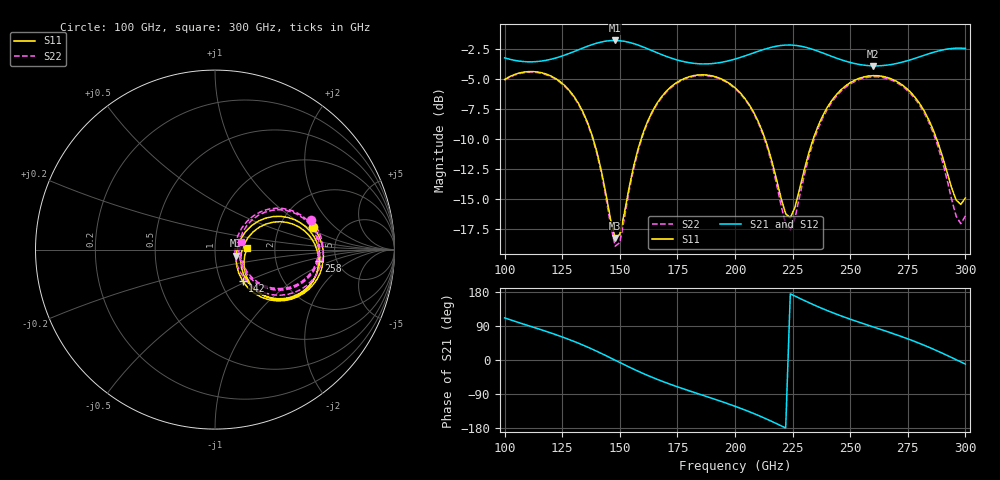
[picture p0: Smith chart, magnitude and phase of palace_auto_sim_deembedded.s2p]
! Created with skrf 1.11.0 (http://scikit-rf.org).
# GHz S DB R 50.0
!freq dBS11 angS11 dBS21 angS21 dBS12 angS12 dBS22 angS22
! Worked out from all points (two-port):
!   101 points, 100 GHz to 300 GHz, reference 50 ohm
!   highest |S21| = -1.75 dB at 148 GHz (marker M1); lowest = -3.9 dB at 260 GHz (marker M2)
!   |S21| within 3 dB of the highest: start of sweep to end of sweep
!   lowest |S11| = -18.2 dB at 148 GHz (marker M3), VSWR 1.28, Z = 63.2 - j4.41 ohm
!   |S11| at or under -10 dB: 138.5 GHz to 159.2 GHz (20.77 GHz wide, 14 % of centre); 213.1 GHz to 233.9 GHz (20.84 GHz wide, 9.33 % of centre); 287.6 GHz to end of sweep
!   |S22| runs from -18.9 to -4.4 dB; largest |S21 - S12| = 1.1e-13
!   S11 on the Smith chart (normalised r, x): 100 GHz: 3.11, +1.13; 142 GHz: 1.27, -0.47; 258 GHz: 3.62, -0.69; 300 GHz: 1.44, +0.02
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100  -5.01 12.9  -3.21 111.1  -3.21 111.1  -5.06 17.1
116  -4.45 -13.1  -3.48 79.5  -3.48 79.5  -4.50 -8.5
126  -5.50 -29.7  -2.98 58.6  -2.98 58.6  -5.56 -24.9
134  -7.72 -42.9  -2.38 39.3  -2.38 39.3  -7.80 -38.2
142  -12.63 -48.7  -1.88 17.3  -1.88 17.3  -12.83 -44.6
148  -18.23 -16.3  -1.75 -0.6  -1.75 -0.6  -18.93 -11.2
150  -17.95 6.5  -1.78 -6.6  -1.78 -6.6  -18.62 13.9
158  -10.76 33.3  -2.15 -29.7  -2.15 -29.7  -10.92 41.3
168  -6.49 20.6  -2.92 -55.2  -2.92 -55.2  -6.57 28.3
184  -4.64 -4.8  -3.70 -89.1  -3.70 -89.1  -4.70 2.9
200  -5.70 -29.3  -3.31 -122.1  -3.31 -122.1  -5.76 -21.8
212  -9.41 -44.7  -2.54 -151.2  -2.54 -151.2  -9.54 -38.1
222  -16.22 -22.1  -2.14 -179.5  -2.14 -179.5  -17.10 -15.7
224  -16.56 -5.4  -2.14 174.7  -2.14 174.7  -17.59 3.5
234  -9.95 26.6  -2.52 146.1  -2.52 146.1  -10.22 38.4
244  -6.28 15.0  -3.23 121.0  -3.23 121.0  -6.41 25.9
258  -4.72 -6.3  -3.86 91.2  -3.86 91.2  -4.82 4.2
260  -4.69 -9.3  -3.87 87.2  -3.87 87.2  -4.79 1.1
268  -4.97 -21.3  -3.76 70.9  -3.76 70.9  -5.07 -11.1
284  -8.33 -43.0  -2.87 34.1  -2.87 34.1  -8.52 -34.5
296  -15.09 -23.8  -2.40 0.8  -2.40 0.8  -16.44 -16.4
300  -14.90 2.7  -2.42 -10.8  -2.42 -10.8  -16.40 16.7
